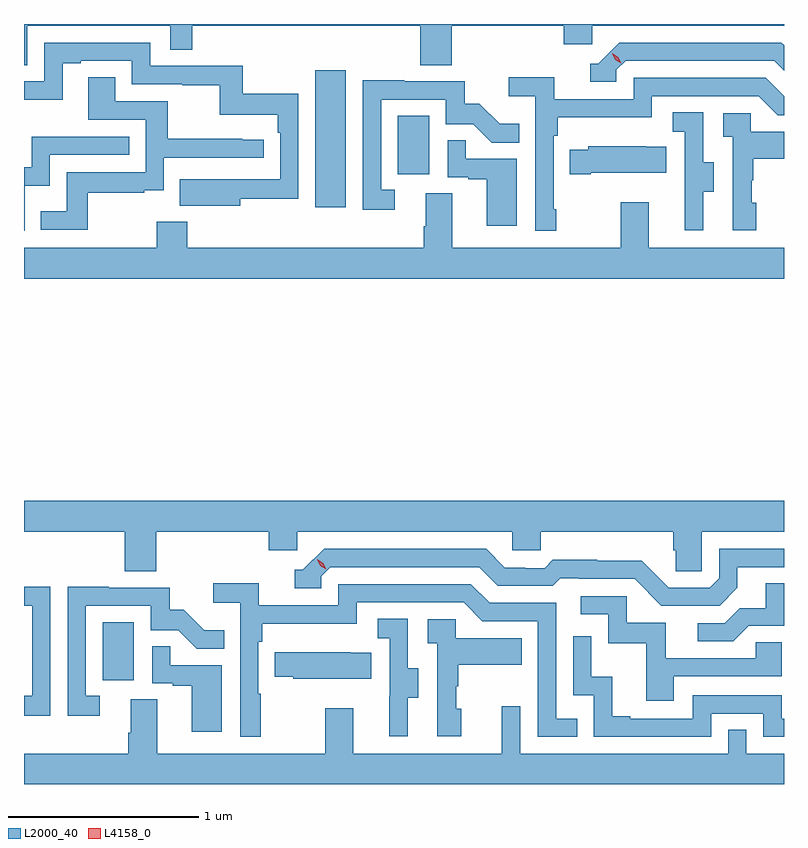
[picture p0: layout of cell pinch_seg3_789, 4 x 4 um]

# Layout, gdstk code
import gdstk
lib = gdstk.Library(unit=1e-6, precision=1e-09)
def R(c, l, rs):  # rectangles x0, y0, x1, y1
    for r in rs: c.add(gdstk.rectangle(r[:2], r[2:], *l))
def P(c, l, *ps):  # polygons
    for p in ps: c.add(gdstk.Polygon(p, *l))
L2000_40 = (2000, 40)
L4158_0 = (4158, 0)

pinch_seg3_789 = lib.new_cell('pinch_seg3_789')
R(pinch_seg3_789, L2000_40, [(815.114,726.774,815.278,727.081), (816.233,729.264,816.394,729.985), (816.668,729.438,816.832,729.745)])
P(pinch_seg3_789, L2000_40, [(814.717,730.22),(815.469,730.22),(815.469,730.093),(815.585,730.093),(815.585,730.22),(816.785,730.22),(816.785,730.012),(816.95,730.012),(816.95,730.22),(817.541,730.22),(817.541,730.122),(817.692,730.122),(817.692,730.22),(818.7,730.22),(818.7,730.229),(814.7,730.229),(814.7,730.012),(814.717,730.012)],
  [(817.818,729.987),(817.866,730.035),(818.649,730.035),(818.7,729.984),(818.7,730.117),(818.686,730.131),(817.833,730.131),(817.722,730.02),(817.679,730.02),(817.679,729.924),(817.818,729.924)],
  [(815.839,729.31),(816.144,729.31),(816.144,729.862),(815.851,729.862),(815.851,730.008),(815.364,730.008),(815.364,730.131),(814.806,730.131),(814.806,729.927),(814.7,729.927),(814.7,729.83),(814.903,729.83),(814.903,730.023),(814.999,730.023),(814.999,730.035),(815.268,730.035),(815.268,729.912),(815.533,729.912),(815.533,729.907),(815.73,729.907),(815.73,729.752),(816.035,729.752),(816.035,729.656),(816.048,729.656),(816.048,729.411),(815.735,729.411),(815.735,729.412),(815.521,729.412),(815.521,729.272),(815.839,729.272)],
  [(815.035,729.342),(815.333,729.342),(815.333,729.353),(815.436,729.353),(815.436,729.525),(815.962,729.525),(815.962,729.621),(815.849,729.621),(815.849,729.626),(815.456,729.626),(815.456,729.822),(815.179,729.822),(815.179,729.95),(815.039,729.95),(815.039,729.726),(815.34,729.726),(815.34,729.45),(814.924,729.45),(814.924,729.244),(814.789,729.244),(814.789,729.147),(815.035,729.147)],
  [(817.501,729.253),(817.488,729.253),(817.488,729.641),(817.508,729.641),(817.508,729.737),(818.004,729.737),(818.004,729.849),(818.568,729.849),(818.667,729.75),(818.7,729.75),(818.7,729.85),(818.605,729.945),(817.908,729.945),(817.908,729.834),(817.49,729.834),(817.49,729.95),(817.251,729.95),(817.251,729.848),(817.392,729.848),(817.392,729.141),(817.501,729.141)],
  [(816.652,729.357),(816.579,729.357),(816.579,729.831),(816.921,729.831),(816.921,729.702),(817.065,729.702),(817.163,729.604),(817.307,729.604),(817.307,729.703),(817.203,729.703),(817.096,729.81),(817.02,729.81),(817.02,729.927),(816.701,729.927),(816.701,729.932),(816.483,729.932),(816.483,729.252),(816.652,729.252)],
  [(818.275,729.346),(818.329,729.346),(818.329,729.501),(818.274,729.501),(818.274,729.764),(818.115,729.764),(818.115,729.661),(818.178,729.661),(818.178,729.357),(818.177,729.357),(818.177,729.144),(818.275,729.144)],
  [(818.554,729.288),(818.529,729.288),(818.529,729.407),(818.539,729.407),(818.539,729.521),(818.7,729.521),(818.7,729.661),(818.526,729.661),(818.526,729.759),(818.379,729.759),(818.379,729.635),(818.43,729.635),(818.43,729.144),(818.554,729.144)],
  [(814.704,729.377),(814.836,729.377),(814.836,729.54),(815.255,729.54),(815.255,729.636),(814.74,729.636),(814.74,729.475),(814.7,729.475),(814.7,729.141),(814.704,729.141)],
  [(817.294,729.519),(817.025,729.519),(817.025,729.617),(816.93,729.617),(816.93,729.423),(817.037,729.423),(817.037,729.411),(817.136,729.411),(817.136,729.168),(817.294,729.168)],
  [(817.684,729.446),(818.081,729.446),(818.081,729.583),(817.973,729.583),(817.973,729.586),(817.671,729.586),(817.671,729.568),(817.573,729.568),(817.573,729.439),(817.684,729.439)],
  [(818.7,729.052),(817.987,729.052),(817.987,729.292),(817.84,729.292),(817.84,729.052),(816.955,729.052),(816.955,729.338),(816.815,729.338),(816.815,729.164),(816.803,729.164),(816.803,729.052),(815.558,729.052),(815.558,729.187),(815.398,729.187),(815.398,729.052),(814.7,729.052),(814.7,728.888),(818.7,728.888)],
  [(815.396,727.556),(815.987,727.556),(815.987,727.458),(816.138,727.458),(816.138,727.556),(817.269,727.556),(817.269,727.458),(817.419,727.458),(817.419,727.556),(818.117,727.556),(818.117,727.458),(818.131,727.458),(818.131,727.348),(818.268,727.348),(818.268,727.556),(818.7,727.556),(818.7,727.72),(814.7,727.72),(814.7,727.556),(815.231,727.556),(815.231,727.348),(815.396,727.348)],
  [(818.455,727.261),(818.455,727.371),(818.7,727.371),(818.7,727.467),(818.358,727.467),(818.358,727.311),(818.31,727.263),(818.094,727.263),(817.952,727.405),(817.716,727.405),(817.716,727.408),(817.483,727.408),(817.441,727.365),(817.338,727.365),(817.338,727.368),(817.231,727.368),(817.132,727.467),(816.279,727.467),(816.168,727.356),(816.125,727.356),(816.125,727.26),(816.264,727.26),(816.264,727.323),(816.312,727.371),(817.095,727.371),(817.194,727.272),(817.483,727.272),(817.522,727.311),(817.621,727.311),(817.621,727.308),(817.914,727.308),(818.055,727.167),(818.361,727.167)],
  [(815.947,726.704),(815.934,726.704),(815.934,726.977),(815.954,726.977),(815.954,727.073),(816.45,727.073),(816.45,727.185),(817.014,727.185),(817.113,727.086),(817.404,727.086),(817.404,726.477),(817.613,726.477),(817.613,726.573),(817.5,726.573),(817.5,727.182),(817.15,727.182),(817.051,727.281),(816.354,727.281),(816.354,727.17),(815.936,727.17),(815.936,727.286),(815.697,727.286),(815.697,727.184),(815.838,727.184),(815.838,726.477),(815.947,726.477)],
  [(818.515,727.062),(818.7,727.062),(818.7,727.286),(818.603,727.286),(818.603,727.154),(818.468,727.154),(818.388,727.074),(818.247,727.074),(818.247,726.981),(818.434,726.981)],
  [(814.839,727.268),(814.7,727.268),(814.7,727.167),(814.743,727.167),(814.743,726.693),(814.7,726.693),(814.7,726.588),(814.839,726.588)],
  [(815.098,726.693),(815.025,726.693),(815.025,727.167),(815.367,727.167),(815.367,727.038),(815.511,727.038),(815.609,726.94),(815.753,726.94),(815.753,727.039),(815.649,727.039),(815.542,727.146),(815.466,727.146),(815.466,727.263),(815.147,727.263),(815.147,727.268),(814.929,727.268),(814.929,726.588),(815.098,726.588)],
  [(818.119,726.795),(818.688,726.795),(818.688,726.975),(818.551,726.975),(818.551,726.891),(818.077,726.891),(818.077,727.077),(817.872,727.077),(817.872,727.218),(817.629,727.218),(817.629,727.122),(817.776,727.122),(817.776,726.969),(817.975,726.969),(817.975,726.666),(818.119,726.666)],
  [(816.721,726.682),(816.775,726.682),(816.775,726.837),(816.72,726.837),(816.72,727.1),(816.561,727.1),(816.561,726.997),(816.624,726.997),(816.624,726.693),(816.623,726.693),(816.623,726.48),(816.721,726.48)],
  [(817,726.624),(816.975,726.624),(816.975,726.743),(816.985,726.743),(816.985,726.857),(817.319,726.857),(817.319,726.997),(816.972,726.997),(816.972,727.095),(816.825,727.095),(816.825,726.971),(816.876,726.971),(816.876,726.48),(817,726.48)],
  [(818.316,726.6),(818.592,726.6),(818.592,726.477),(818.7,726.477),(818.7,726.573),(818.688,726.573),(818.688,726.696),(818.22,726.696),(818.22,726.573),(817.891,726.573),(817.891,726.586),(817.796,726.586),(817.796,726.794),(817.686,726.794),(817.686,727.006),(817.59,727.006),(817.59,726.696),(817.698,726.696),(817.698,726.477),(818.316,726.477)],
  [(815.74,726.855),(815.471,726.855),(815.471,726.953),(815.376,726.953),(815.376,726.759),(815.483,726.759),(815.483,726.747),(815.582,726.747),(815.582,726.504),(815.74,726.504)],
  [(816.527,726.919),(816.419,726.919),(816.419,726.922),(816.019,726.922),(816.019,726.793),(816.117,726.793),(816.117,726.782),(816.527,726.782)],
  [(818.7,726.388),(818.502,726.388),(818.502,726.515),(818.406,726.515),(818.406,726.388),(817.311,726.388),(817.311,726.637),(817.214,726.637),(817.214,726.388),(816.433,726.388),(816.433,726.628),(816.286,726.628),(816.286,726.388),(815.401,726.388),(815.401,726.674),(815.261,726.674),(815.261,726.5),(815.249,726.5),(815.249,726.388),(814.7,726.388),(814.7,726.229),(818.7,726.229)])
P(pinch_seg3_789, L4158_0, [(817.844,730.023),(817.813,730.042),(817.796,730.074),(817.796,730.074),(817.796,730.074),(817.827,730.055),(817.844,730.023),(817.844,730.023)],
  [(816.29,727.359),(816.259,727.378),(816.243,727.411),(816.243,727.411),(816.244,727.411),(816.274,727.392),(816.29,727.359),(816.29,727.359)])

lib.write_gds('pinch_seg3_789.gds')
